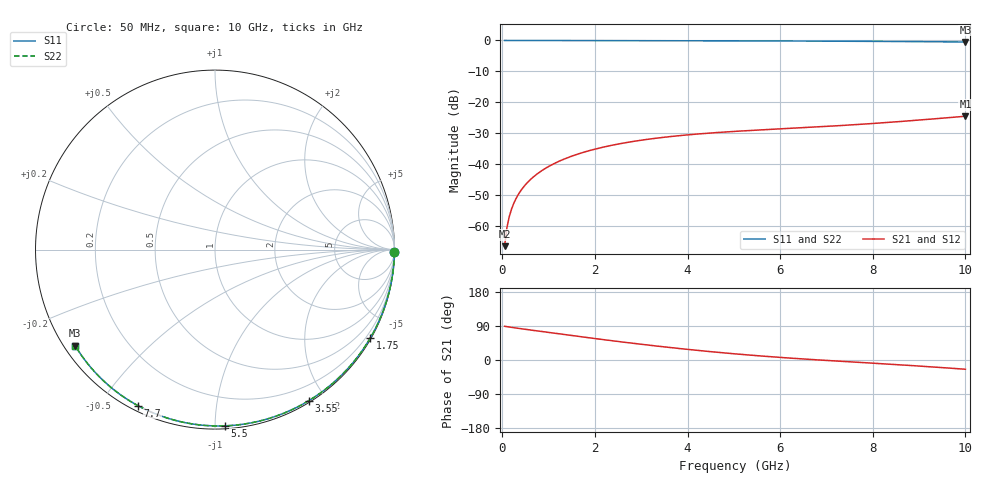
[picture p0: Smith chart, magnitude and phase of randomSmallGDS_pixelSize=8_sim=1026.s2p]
! freq	dB(S11)	phase(S11)	dB(S12)	phase(S12)
!  dB(S21)	phase(S21)	dB(S22)	phase(S22)
!S-par simulation data
#  GHz  S  DB  R 50
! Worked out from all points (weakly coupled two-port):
!   200 points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, 50 MHz to 10 GHz, reference 50 ohm
!   highest |S21| = -24.47 dB at 10 GHz (marker M1); lowest = -66.4 dB at 50 MHz (marker M2)
!   lowest |S11| = -0.5 dB at 10 GHz (marker M3), VSWR 35.45, Z = 1.55 - j15.5 ohm
!   |S11| at or under -10 dB: nowhere
!   |S22| runs from -0.5 to 0.0 dB; largest |S21 - S12| = 0
!   S11 on the Smith chart (normalised r, x): 50 MHz: open; 1.75 GHz: 0.03, -3.80; 3.55 GHz: 0.02, -1.79; 5.5 GHz: 0.02, -1.06; 7.7 GHz: 0.02, -0.62; 10 GHz: 0.03, -0.31
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0.05  -0.00 -0.9  -66.40 89.0  -66.40 89.0  -0.00 -0.9
0.1  -0.00 -1.7  -60.39 87.9  -60.39 87.9  -0.00 -1.7
0.15  -0.00 -2.6  -56.89 87.0  -56.89 87.0  -0.00 -2.6
0.2  -0.00 -3.4  -54.41 86.0  -54.41 86.0  -0.00 -3.4
0.25  -0.00 -4.3  -52.50 85.2  -52.50 85.2  -0.00 -4.3
0.35  -0.00 -6.0  -49.61 83.4  -49.61 83.4  -0.00 -6.0
0.5  -0.01 -8.6  -46.56 81.0  -46.56 81.0  -0.01 -8.6
0.7  -0.01 -12.0  -43.70 77.7  -43.70 77.7  -0.01 -12.0
1  -0.02 -17.0  -40.68 72.7  -40.68 72.7  -0.02 -17.0
1.35  -0.03 -22.9  -38.20 67.0  -38.20 67.0  -0.03 -22.9
1.75  -0.04 -29.5  -36.12 60.5  -36.12 60.5  -0.04 -29.5
2.5  -0.06 -41.7  -33.44 48.9  -33.44 48.9  -0.06 -41.8
3.4  -0.08 -55.9  -31.41 35.9  -31.41 35.9  -0.08 -56.0
3.55  -0.08 -58.3  -31.15 33.9  -31.15 33.9  -0.08 -58.3
4.3  -0.10 -69.6  -30.10 24.4  -30.10 24.4  -0.10 -69.6
5.05  -0.13 -80.5  -29.32 15.9  -29.32 15.9  -0.13 -80.6
5.5  -0.14 -86.9  -28.93 11.4  -28.93 11.4  -0.14 -86.9
6.7  -0.20 -103.3  -27.99 1.1  -27.99 1.1  -0.20 -103.3
7.7  -0.27 -116.4  -27.10 -6.2  -27.10 -6.2  -0.27 -116.4
8.35  -0.32 -124.7  -26.43 -10.9  -26.43 -10.9  -0.32 -124.7
9.2  -0.40 -135.4  -25.45 -17.6  -25.45 -17.6  -0.40 -135.4
10  -0.49 -145.5  -24.47 -24.4  -24.47 -24.4  -0.49 -145.5
